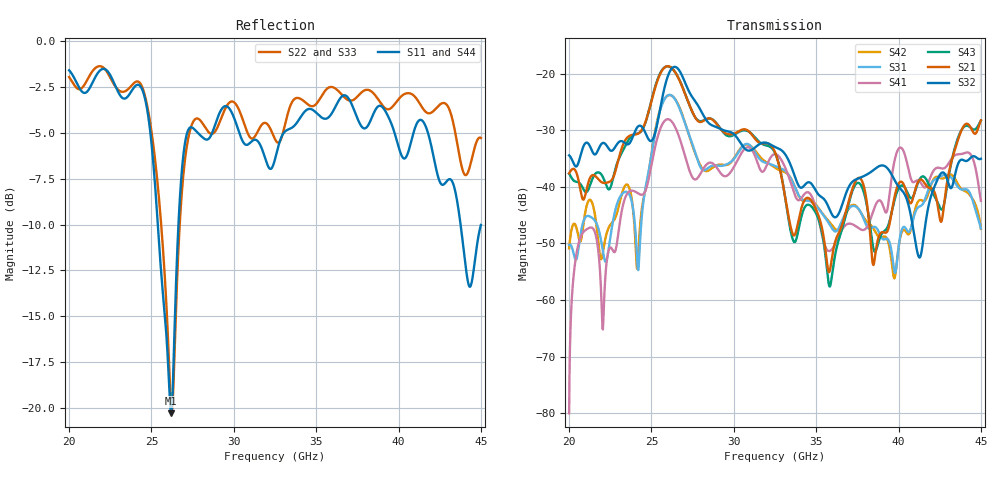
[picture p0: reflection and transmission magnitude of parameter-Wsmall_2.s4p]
! TOUCHSTONE file generated by CST MICROWAVE STUDIO
! Date and time: Sat Jun  8 01:11:36 2024
! Project name: Final_26GHz_linear.cst
! Parameters = {tand=0.0037; Connector_spacing=15.33; Coplanar_gap=0.425; Distance_inner=4.78238; Distance_outer=14.3471; L=2.6; L_pad=5; Length_strip_inner=24.3248; Length_strip_outer=27.8328; Pad_via_diameter=2.1; Pad_via_x_centre=3.75; Pad_via_z_centre=2.8; Patch_spacing=5.76524; Via_diameter=0.4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
! Header version: 2024
! Port assignment regex: !\s*Touchstone port\s*([0-9]+)\s*=\s*(CST MWS port|CST DES external port|CST DES block port)\s*(.+)\s* \(\"(.*)\"\)(\s*mode\s*([0-9]+))?.*
! Touchstone port assignment:
! Touchstone port 1 = CST MWS port 1 ("")
! Touchstone port 2 = CST MWS port 2 ("")
! Touchstone port 3 = CST MWS port 3 ("")
! Touchstone port 4 = CST MWS port 4 ("")
# GHz S MA R 50
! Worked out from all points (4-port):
!   1001 points, 20 GHz to 45 GHz, reference 50 ohm
!   strongest paths, dB at 20 GHz, 26.25 GHz, 32.5 GHz, 38.75 GHz, 45 GHz:
!     S32: -34.4, -19.0, -33.0, -36.5, -35.0
!     S21: -37.6, -19.1, -33.9, -49.3, -28.3
!     S43: -37.7, -19.1, -34.0, -50.1, -28.3
!     S41: -80.0, -28.5, -34.2, -42.5, -42.5
!     S31: -50.3, -23.9, -36.3, -47.7, -47.3
!     S42: -50.9, -23.9, -36.6, -48.7, -47.4
!   lowest |S11| = -20.3 dB at 26.2 GHz (marker M1), VSWR 1.21, Z = 59.7 + j4.33 ohm
!   |S11| at or under -10 dB: 25.38 GHz to 26.64 GHz (1.252 GHz wide, 4.81 % of centre); 43.77 GHz to end of sweep
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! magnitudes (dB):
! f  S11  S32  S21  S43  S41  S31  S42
! 20 GHz  -1.6  -34.4  -37.6  -37.7  -80.0  -50.3  -50.9
! 20.7 GHz  -2.7  -34.4  -40.8  -39.6  -48.8  -48.3  -49.6
! 22.05 GHz  -1.5  -32.2  -39.3  -38.3  -65.2  -51.3  -51.6
! 24.2 GHz  -2.4  -29.3  -30.6  -30.5  -41.2  -54.7  -52.0
! 26.2 GHz  -20.3  -19.2  -18.9  -19.0  -28.4  -23.8  -23.9
! 35.83 GHz  -4.1  -44.1  -54.8  -57.6  -51.3  -46.7  -46.3
! 45 GHz  -10.0  -35.0  -28.3  -28.3  -42.5  -47.3  -47.4
